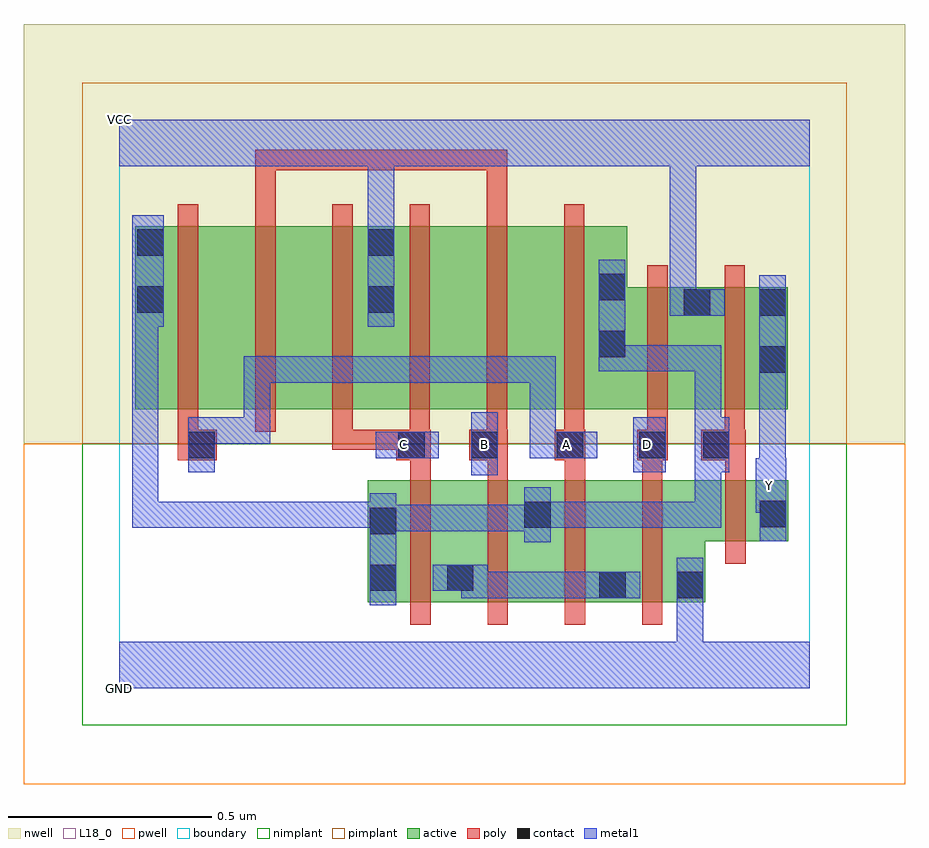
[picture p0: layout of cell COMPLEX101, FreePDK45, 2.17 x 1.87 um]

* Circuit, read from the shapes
.subckt COMPLEX101 A B C D GND VCC Y
M1 n1 C n2 VSUBS nfet w=0.3u l=0.05u
M2 n2 B n1 VSUBS nfet w=0.3u l=0.05u
M3 n1 A n2 VSUBS nfet w=0.3u l=0.05u
M4 GND D n1 VSUBS nfet w=0.3u l=0.05u
M5 Y n2 GND VSUBS nfet w=0.15u l=0.05u
M6 n3 A n2 n4 pfet w=0.45u l=0.05u
M7 n5 B n3 n4 pfet w=0.45u l=0.05u
M8 VCC C n5 n4 pfet w=0.45u l=0.05u
M9 n6 C VCC n4 pfet w=0.45u l=0.05u
M10 n7 B n6 n4 pfet w=0.45u l=0.05u
M11 n2 A n7 n4 pfet w=0.45u l=0.05u
M12 VCC D n2 n4 pfet w=0.3u l=0.05u
M13 Y n2 VCC n4 pfet w=0.3u l=0.05u
.ends

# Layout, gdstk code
import gdstk
lib = gdstk.Library(unit=1e-6, precision=1e-09)
def R(c, l, rs):  # rectangles x0, y0, x1, y1
    for r in rs: c.add(gdstk.rectangle(r[:2], r[2:], *l))
def A(c, l, x, y, w, h, nx, ny, dx, dy):  # array of equal rectangles
    R(c, l, [(x+i*dx, y+j*dy, x+i*dx+w, y+j*dy+h) for i in range(nx) for j in range(ny)])
active = (1, 0)
pwell = (2, 0)
nwell = (3, 0)
nimplant = (4, 0)
pimplant = (5, 0)
poly = (9, 0)
contact = (10, 0)
metal1 = (11, 0)
L18_0 = (18, 0)
boundary = (235, 0)

complex101 = lib.new_cell('COMPLEX101')
R(complex101, active, [(0.612,0.212,0.877,0.512), (0.802,0.212,1.067,0.512), (0.802,0.212,0.877,0.422), (0.992,0.212,1.252,0.512), (1.177,0.212,1.442,0.512), (1.177,0.212,1.252,0.392), (1.367,0.212,1.442,0.362), (0.612,0.235,0.687,0.512), (0.992,0.247,1.067,0.465), (1.367,0.362,1.647,0.512), (1.572,0.362,1.647,0.512), (0.04,0.687,0.265,1.137), (0.04,0.687,0.115,1.135), (0.265,0.687,0.455,1.137), (0.455,0.687,0.682,1.137), (0.607,0.687,0.835,1.137), (0.835,0.687,1.025,1.137), (1.025,0.687,1.25,1.137), (1.175,0.687,1.46,0.987), (1.175,0.687,1.25,1.025), (1.385,0.687,1.645,0.987), (1.57,0.687,1.645,0.987), (0.607,0.722,0.682,1.137), (1.385,0.722,1.46,0.987)])
R(complex101, pwell, [(-0.235,-0.235,1.935,0.602)])
R(complex101, nwell, [(-0.235,0.602,1.935,1.635)])
R(complex101, nimplant, [(-0.09,-0.09,1.79,0.602)])
R(complex101, pimplant, [(-0.09,0.602,1.79,1.49)])
A(complex101, poly, 0.717, 0.157, 0.05, 0.41, 4, 1, 0.19, 0)
A(complex101, poly, 0.717, 0.517, 0.05, 0.095, 4, 1, 0.19, 0)
A(complex101, poly, 0.525, 0.587, 0.05, 0.095, 4, 1, 0.19, 0)
A(complex101, poly, 0.145, 0.632, 0.05, 0.56, 6, 1, 0.19, 0)
R(complex101, poly, [(1.492,0.307,1.542,0.567), (1.492,0.517,1.542,0.612), (0.145,0.562,0.24,0.637), (0.682,0.562,0.767,0.637), (0.862,0.562,0.957,0.637), (1.072,0.562,1.147,0.637), (1.275,0.562,1.35,0.637), (1.432,0.562,1.542,0.637), (0.145,0.587,0.195,0.682), (0.525,0.587,0.575,0.637), (0.525,0.587,0.575,0.637), (0.525,0.587,0.575,0.637), (0.525,0.587,0.732,0.637), (1.3,0.587,1.35,0.682), (1.49,0.587,1.54,0.682), (1.3,0.632,1.35,1.042), (1.49,0.632,1.54,1.042), (0.335,1.142,0.385,1.325), (0.905,1.142,0.955,1.325), (0.335,1.275,0.385,1.325), (0.335,1.275,0.385,1.325), (0.335,1.275,0.385,1.325), (0.335,1.275,0.6,1.325), (0.55,1.275,0.6,1.325), (0.55,1.275,0.6,1.325), (0.55,1.275,0.6,1.325), (0.55,1.275,0.732,1.325), (0.682,1.275,0.732,1.325), (0.682,1.275,0.955,1.325), (0.905,1.275,0.955,1.325), (0.905,1.275,0.955,1.325), (0.905,1.275,0.955,1.325)])
R(complex101, contact, [(1.182,0.222,1.247,0.287), (1.372,0.222,1.437,0.287), (0.617,0.24,0.682,0.305), (0.807,0.24,0.872,0.305), (0.617,0.38,0.682,0.445), (0.997,0.395,1.062,0.46), (1.577,0.397,1.642,0.462), (0.17,0.567,0.235,0.632), (0.687,0.567,0.752,0.632), (0.867,0.567,0.932,0.632), (1.077,0.567,1.142,0.632), (1.28,0.567,1.345,0.632), (1.437,0.567,1.502,0.632), (1.575,0.777,1.64,0.842), (1.18,0.815,1.245,0.88), (1.39,0.917,1.455,0.982), (1.575,0.917,1.64,0.982), (0.045,0.925,0.11,0.99), (0.612,0.925,0.677,0.99), (1.18,0.955,1.245,1.02), (0.045,1.065,0.11,1.13), (0.612,1.065,0.677,1.13)])
R(complex101, metal1, [(0,0,1.7,0.115), (1.372,0.05,1.437,0.252), (1.372,0.187,1.437,0.252), (1.372,0.187,1.437,0.252), (1.372,0.187,1.437,0.322), (0.617,0.205,0.682,0.48), (0.842,0.222,1.075,0.287), (0.842,0.222,0.907,0.305), (1.01,0.222,1.075,0.287), (1.01,0.222,1.075,0.287), (1.01,0.222,1.075,0.287), (1.01,0.222,1.212,0.287), (1.147,0.222,1.282,0.287), (0.772,0.24,0.907,0.305), (0.842,0.24,0.907,0.305), (0.997,0.36,1.062,0.495), (1.577,0.362,1.642,0.497), (0.617,0.387,0.682,0.452), (0.617,0.387,0.682,0.452), (0.617,0.387,0.925,0.452), (0.86,0.387,0.925,0.452), (0.86,0.387,0.925,0.452), (0.86,0.387,0.925,0.452), (0.86,0.387,1.062,0.452), (0.032,0.395,0.097,0.46), (0.032,0.395,0.097,0.46), (0.032,0.395,0.097,0.46), (0.032,0.395,0.097,0.46), (0.032,0.395,0.097,0.46), (0.032,0.395,0.402,0.46), (0.032,0.395,0.097,0.955), (0.337,0.395,0.402,0.46), (0.337,0.395,0.402,0.46), (0.337,0.395,0.402,0.46), (0.337,0.395,0.54,0.46), (0.475,0.395,0.54,0.46), (0.475,0.395,0.54,0.46), (0.475,0.395,0.54,0.46), (0.475,0.395,0.682,0.46), (0.997,0.395,1.07,0.46), (1.005,0.395,1.07,0.46), (1.005,0.395,1.282,0.46), (1.217,0.395,1.282,0.46), (1.217,0.395,1.282,0.46), (1.217,0.395,1.282,0.46), (1.217,0.395,1.482,0.46), (1.417,0.395,1.482,0.46), (1.417,0.395,1.482,0.597), (1.567,0.432,1.642,0.567), (1.577,0.432,1.642,0.497), (1.575,0.502,1.64,0.807), (0.867,0.525,0.932,0.68), (0.17,0.532,0.235,0.667), (1.265,0.532,1.345,0.667), (1.417,0.532,1.482,0.597), (1.417,0.532,1.502,0.597), (1.417,0.532,1.482,0.845), (1.437,0.532,1.502,0.667), (0.632,0.567,0.787,0.632), (1.01,0.567,1.075,0.632), (1.01,0.567,1.097,0.632), (1.01,0.567,1.075,0.817), (1.032,0.567,1.177,0.632), (0.17,0.602,0.372,0.667), (0.307,0.602,0.372,0.667), (0.307,0.602,0.372,0.817), (1.575,0.742,1.64,1.017), (0.307,0.752,0.372,0.817), (0.307,0.752,0.372,0.817), (0.307,0.752,0.372,0.817), (0.307,0.752,0.54,0.817), (0.475,0.752,0.54,0.817), (0.475,0.752,0.54,0.817), (0.475,0.752,0.54,0.817), (0.475,0.752,0.7,0.817), (0.635,0.752,0.7,0.817), (0.635,0.752,0.7,0.817), (0.635,0.752,0.7,0.817), (0.635,0.752,0.84,0.817), (0.775,0.752,0.84,0.817), (0.775,0.752,0.84,0.817), (0.775,0.752,0.84,0.817), (0.775,0.752,1.075,0.817), (1.01,0.752,1.075,0.817), (1.18,0.78,1.245,1.055), (1.18,0.78,1.245,0.845), (1.18,0.78,1.245,0.845), (1.18,0.78,1.482,0.845), (1.417,0.78,1.482,0.845), (0.032,0.89,0.11,1.165), (0.612,0.89,0.677,1.165), (1.355,0.917,1.42,0.982), (1.355,0.917,1.42,0.982), (1.355,0.917,1.42,0.982), (1.355,0.917,1.42,0.982), (1.355,0.917,1.42,1.35), (1.355,0.917,1.49,0.982), (0.612,1.1,0.677,1.165), (0.612,1.1,0.677,1.165), (0.612,1.1,0.677,1.35), (0,1.285,1.7,1.4)])
R(complex101, L18_0, [(0,0,1.7,0.115), (1.372,0.05,1.437,0.252), (1.372,0.187,1.437,0.322), (1.372,0.187,1.437,0.252), (1.372,0.187,1.437,0.252), (1.577,0.362,1.642,0.497), (1.567,0.432,1.642,0.567), (1.577,0.432,1.642,0.497), (1.567,0.467,1.632,0.532), (1.575,0.502,1.64,0.807), (0.867,0.525,0.932,0.68), (0.17,0.532,0.235,0.667), (1.265,0.532,1.345,0.667), (0.632,0.567,0.787,0.632), (0.667,0.567,0.732,0.632), (0.867,0.567,0.932,0.632), (1.01,0.567,1.075,0.632), (1.01,0.567,1.075,0.817), (1.01,0.567,1.097,0.632), (1.032,0.567,1.177,0.632), (1.067,0.567,1.132,0.632), (1.267,0.567,1.332,0.632), (0.17,0.602,0.372,0.667), (0.307,0.602,0.372,0.667), (0.307,0.602,0.372,0.817), (1.575,0.742,1.64,1.017), (0.307,0.752,0.372,0.817), (0.307,0.752,0.372,0.817), (0.307,0.752,0.372,0.817), (0.307,0.752,0.54,0.817), (0.475,0.752,0.54,0.817), (0.475,0.752,0.54,0.817), (0.475,0.752,0.54,0.817), (0.475,0.752,0.7,0.817), (0.635,0.752,0.7,0.817), (0.635,0.752,0.7,0.817), (0.635,0.752,0.7,0.817), (0.635,0.752,0.84,0.817), (0.775,0.752,0.84,0.817), (0.775,0.752,0.84,0.817), (0.775,0.752,0.84,0.817), (0.775,0.752,1.075,0.817), (1.01,0.752,1.075,0.817), (0.612,0.89,0.677,1.165), (1.355,0.917,1.42,0.982), (1.355,0.917,1.42,0.982), (1.355,0.917,1.42,0.982), (1.355,0.917,1.42,0.982), (1.355,0.917,1.49,0.982), (1.355,0.917,1.42,1.35), (0.612,1.1,0.677,1.165), (0.612,1.1,0.677,1.165), (0.612,1.1,0.677,1.35), (0,1.285,1.7,1.4)])
R(complex101, boundary, [(0,0,1.7,1.4)])
complex101.add(gdstk.Label('A', (1.1,0.6), layer=11, texttype=0))
complex101.add(gdstk.Label('B', (0.9,0.6), layer=11, texttype=0))
complex101.add(gdstk.Label('C', (0.7,0.6), layer=11, texttype=0))
complex101.add(gdstk.Label('D', (1.3,0.6), layer=11, texttype=0))
complex101.add(gdstk.Label('Y', (1.6,0.5), layer=11, texttype=0))
complex101.add(gdstk.Label('VCC', (0,1.4), layer=11, texttype=0))
complex101.add(gdstk.Label('GND', (0,0), layer=11, texttype=0))

lib.write_gds('COMPLEX101.gds')
